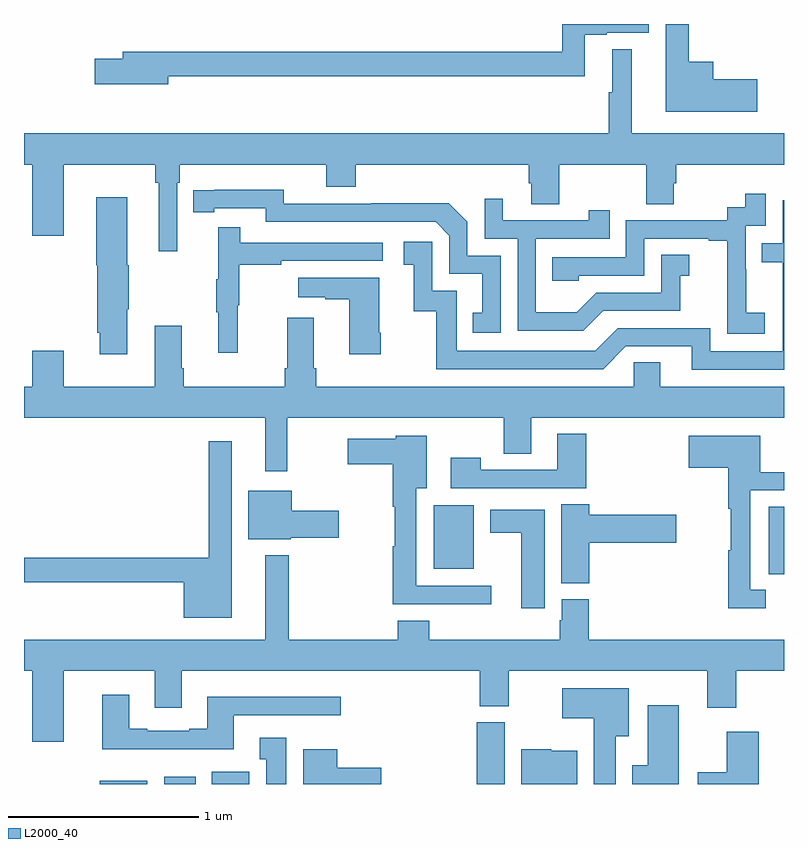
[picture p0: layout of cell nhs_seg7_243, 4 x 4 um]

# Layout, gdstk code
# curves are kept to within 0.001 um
import gdstk
lib = gdstk.Library(unit=1e-6, precision=1e-09)
def R(c, l, rs):  # rectangles x0, y0, x1, y1
    for r in rs: c.add(gdstk.rectangle(r[:2], r[2:], *l))
def P(c, l, *ps):  # polygons
    for p in ps: c.add(gdstk.Polygon(p, *l))
L2000_40 = (2000, 40)

nhs_seg7_243 = lib.new_cell('nhs_seg7_243')
R(nhs_seg7_243, L2000_40, [(129.398,1020,129.649,1020.016), (129.737,1020,129.904,1020.037), (129.989,1020,130.186,1020.064), (131.384,1020,131.53,1020.324), (132.92,1021.104,133,1021.46), (131.156,1021.133,131.368,1021.468)])
P(nhs_seg7_243, L2000_40, [(129.76,1023.726),(131.95,1023.726),(131.95,1023.943),(132.066,1023.943),(132.066,1023.953),(132.289,1023.953),(132.289,1024),(131.833,1024),(131.833,1023.854),(129.521,1023.854),(129.521,1023.818),(129.372,1023.818),(129.372,1023.683),(129.76,1023.683)],
  [(132.859,1023.71),(132.628,1023.71),(132.628,1023.802),(132.499,1023.802),(132.499,1024),(132.377,1024),(132.377,1023.539),(132.859,1023.539)],
  [(129.807,1023.164),(129.821,1023.164),(129.821,1023.26),(130.592,1023.26),(130.592,1023.143),(130.745,1023.143),(130.745,1023.26),(131.657,1023.26),(131.657,1023.162),(131.669,1023.162),(131.669,1023.052),(131.817,1023.052),(131.817,1023.26),(132.274,1023.26),(132.274,1023.052),(132.421,1023.052),(132.421,1023.162),(132.434,1023.162),(132.434,1023.26),(133,1023.26),(133,1023.424),(132.199,1023.424),(132.199,1023.868),(132.097,1023.868),(132.097,1023.641),(132.078,1023.641),(132.078,1023.424),(129,1023.424),(129,1023.26),(129.044,1023.26),(129.044,1022.886),(129.208,1022.886),(129.208,1023.26),(129.691,1023.26),(129.691,1023.164),(129.71,1023.164),(129.71,1022.805),(129.807,1022.805)],
  [(131.508,1022.781),(131.334,1022.781),(131.334,1022.958),(131.236,1023.056),(130.828,1023.056),(130.828,1023.054),(130.368,1023.054),(130.368,1023.127),(129.892,1023.126),(129.892,1023.01),(130,1023.01),(130,1023.03),(130.272,1023.03),(130.272,1022.958),(131.166,1022.958),(131.238,1022.886),(131.238,1022.685),(131.411,1022.685),(131.411,1022.481),(131.362,1022.481),(131.362,1022.376),(131.508,1022.376)],
  [(132.898,1022.479),(132.8,1022.479),(132.8,1022.708),(132.798,1022.708),(132.798,1022.937),(132.903,1022.937),(132.903,1023.106),(132.795,1023.106),(132.795,1023.036),(132.702,1023.036),(132.702,1022.967),(132.168,1022.967),(132.168,1022.772),(131.779,1022.772),(131.779,1022.649),(131.919,1022.649),(131.919,1022.676),(132.264,1022.676),(132.264,1022.871),(132.605,1022.871),(132.605,1022.859),(132.701,1022.859),(132.701,1022.575),(132.7,1022.575),(132.7,1022.369),(132.898,1022.369)],
  [(129.544,1022.5),(129.552,1022.5),(129.552,1022.73),(129.544,1022.73),(129.544,1023.088),(129.38,1023.088),(129.38,1022.73),(129.386,1022.73),(129.386,1022.374),(129.398,1022.374),(129.398,1022.262),(129.544,1022.262)],
  [(132.049,1022.49),(132.453,1022.49),(132.453,1022.675),(132.502,1022.675),(132.502,1022.785),(132.354,1022.785),(132.354,1022.586),(132.012,1022.586),(131.908,1022.482),(131.694,1022.482),(131.694,1022.871),(132.083,1022.871),(132.083,1023.019),(131.972,1023.019),(131.972,1022.967),(131.521,1022.967),(131.521,1023.079),(131.424,1023.079),(131.424,1022.871),(131.598,1022.871),(131.598,1022.385),(131.944,1022.385)],
  [(133,1023.072),(132.993,1023.072),(132.993,1022.847),(132.883,1022.847),(132.883,1022.746),(132.993,1022.746),(132.993,1022.277),(132.612,1022.277),(132.612,1022.4),(132.126,1022.4),(132.006,1022.28),(131.277,1022.28),(131.277,1022.595),(131.148,1022.595),(131.148,1022.854),(130.998,1022.854),(130.998,1022.733),(131.051,1022.733),(131.051,1022.487),(131.169,1022.487),(131.169,1022.184),(132.048,1022.184),(132.168,1022.304),(132.515,1022.304),(132.515,1022.181),(133,1022.181)],
  [(130.124,1022.52),(130.132,1022.52),(130.132,1022.734),(130.355,1022.734),(130.355,1022.754),(130.888,1022.754),(130.888,1022.85),(130.139,1022.85),(130.139,1022.929),(130.022,1022.929),(130.022,1022.657),(130.011,1022.657),(130.011,1022.483),(130.022,1022.483),(130.022,1022.271),(130.124,1022.271)],
  [(130.878,1022.374),(130.87,1022.374),(130.87,1022.665),(130.443,1022.665),(130.443,1022.561),(130.586,1022.561),(130.586,1022.551),(130.712,1022.551),(130.712,1022.262),(130.878,1022.262)],
  [(130.385,1021.928),(131.524,1021.928),(131.524,1021.738),(131.671,1021.738),(131.671,1021.928),(133,1021.928),(133,1022.092),(132.349,1022.092),(132.349,1022.219),(132.21,1022.219),(132.21,1022.092),(130.538,1022.092),(130.538,1022.188),(130.525,1022.188),(130.525,1022.455),(130.385,1022.455),(130.385,1022.188),(130.373,1022.188),(130.373,1022.092),(129.842,1022.092),(129.842,1022.188),(129.829,1022.188),(129.829,1022.413),(129.689,1022.413),(129.689,1022.092),(129.208,1022.092),(129.208,1022.281),(129.044,1022.281),(129.044,1022.092),(129,1022.092),(129,1021.928),(130.271,1021.928),(130.271,1021.647),(130.385,1021.647)],
  [(131.96,1021.843),(131.807,1021.843),(131.807,1021.653),(131.403,1021.653),(131.403,1021.717),(131.247,1021.717),(131.247,1021.557),(131.96,1021.557)],
  [(131.458,1021.044),(131.065,1021.044),(131.065,1021.556),(131.119,1021.556),(131.119,1021.834),(130.956,1021.834),(130.956,1021.816),(130.704,1021.816),(130.704,1021.682),(130.94,1021.682),(130.94,1021.46),(130.952,1021.46),(130.952,1021.251),(130.94,1021.251),(130.94,1020.947),(131.458,1020.947)],
  [(132.904,1021.023),(132.822,1021.023),(132.822,1021.545),(133,1021.545),(133,1021.641),(132.874,1021.641),(132.874,1021.834),(132.498,1021.834),(132.498,1021.664),(132.706,1021.664),(132.706,1021.448),(132.721,1021.448),(132.721,1021.23),(132.706,1021.23),(132.706,1020.926),(132.904,1020.926)],
  [(130.093,1021.804),(129.972,1021.804),(129.972,1021.19),(129,1021.19),(129,1021.062),(129.842,1021.062),(129.842,1020.875),(130.093,1020.875)],
  [(130.404,1021.295),(130.657,1021.295),(130.657,1021.437),(130.408,1021.437),(130.408,1021.543),(130.181,1021.543),(130.181,1021.289),(130.404,1021.289)],
  [(131.975,1021.271),(132.433,1021.271),(132.433,1021.418),(131.975,1021.418),(131.975,1021.472),(131.828,1021.472),(131.828,1021.057),(131.975,1021.057)],
  [(131.74,1021.444),(131.453,1021.444),(131.453,1021.322),(131.618,1021.322),(131.618,1020.924),(131.74,1020.924)],
  [(129.208,1020.596),(129.689,1020.596),(129.689,1020.402),(129.829,1020.402),(129.829,1020.596),(131.399,1020.596),(131.399,1020.409),(131.551,1020.409),(131.551,1020.596),(132.596,1020.596),(132.596,1020.402),(132.749,1020.402),(132.749,1020.596),(133,1020.596),(133,1020.76),(131.972,1020.76),(131.972,1020.972),(131.831,1020.972),(131.831,1020.861),(131.819,1020.861),(131.819,1020.76),(131.132,1020.76),(131.132,1020.859),(130.967,1020.859),(130.967,1020.76),(130.393,1020.76),(130.393,1021.204),(130.271,1021.204),(130.271,1020.76),(129,1020.76),(129,1020.596),(129.044,1020.596),(129.044,1020.222),(129.208,1020.222)],
  [(132.115,1020.251),(132.184,1020.251),(132.184,1020.505),(131.832,1020.505),(131.832,1020.347),(131.999,1020.347),(131.999,1020),(132.115,1020)],
  [(130.105,1020.363),(130.666,1020.363),(130.666,1020.46),(129.965,1020.46),(129.965,1020.292),(129.869,1020.292),(129.869,1020.279),(129.649,1020.279),(129.649,1020.292),(129.553,1020.292),(129.553,1020.469),(129.413,1020.469),(129.413,1020.182),(130.105,1020.182)],
  [(132.445,1020.415),(132.284,1020.415),(132.284,1020.1),(132.2,1020.1),(132.2,1020),(132.445,1020)],
  [(132.866,1020.274),(132.698,1020.274),(132.698,1020.063),(132.546,1020.063),(132.546,1020),(132.866,1020)],
  [(130.381,1020.244),(130.241,1020.244),(130.241,1020.131),(130.274,1020.131),(130.274,1020),(130.381,1020)],
  [(130.879,1020.086),(130.648,1020.086),(130.648,1020.184),(130.469,1020.184),(130.469,1020),(130.879,1020)],
  [(131.911,1020.175),(131.775,1020.175),(131.775,1020.184),(131.618,1020.184),(131.618,1020),(131.911,1020)])

lib.write_gds('nhs_seg7_243.gds')
